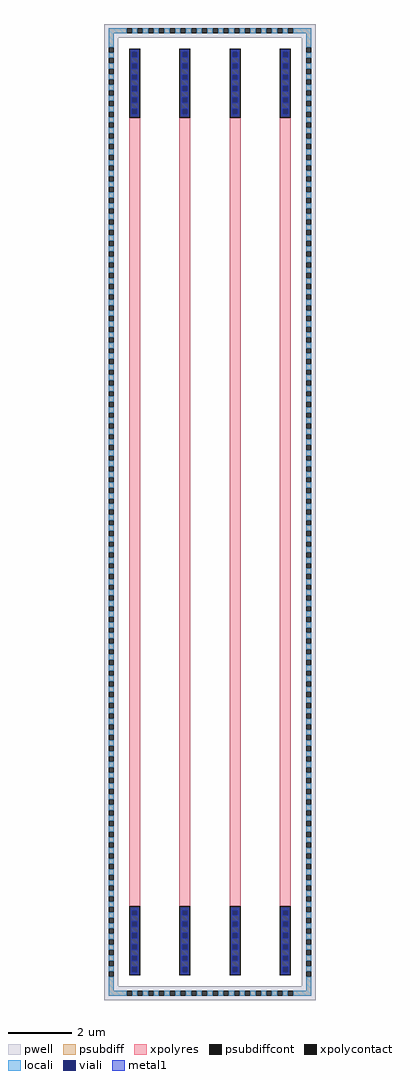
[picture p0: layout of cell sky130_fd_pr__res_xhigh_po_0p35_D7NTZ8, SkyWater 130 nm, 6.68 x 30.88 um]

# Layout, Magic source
magic
tech sky130A
magscale 1 2
<< pwell >>
rect -668 3002 668 3088
rect -668 -3002 -582 3002
rect 582 -3002 668 3002
rect -668 -3088 668 -3002
<< psubdiff >>
rect -642 3028 -527 3062
rect -493 3028 -459 3062
rect -425 3028 -391 3062
rect -357 3028 -323 3062
rect -289 3028 -255 3062
rect -221 3028 -187 3062
rect -153 3028 -119 3062
rect -85 3028 -51 3062
rect -17 3028 17 3062
rect 51 3028 85 3062
rect 119 3028 153 3062
rect 187 3028 221 3062
rect 255 3028 289 3062
rect 323 3028 357 3062
rect 391 3028 425 3062
rect 459 3028 493 3062
rect 527 3028 642 3062
rect -642 2941 -608 3028
rect 608 2941 642 3028
rect -642 2873 -608 2907
rect -642 2805 -608 2839
rect -642 2737 -608 2771
rect -642 2669 -608 2703
rect -642 2601 -608 2635
rect -642 2533 -608 2567
rect -642 2465 -608 2499
rect -642 2397 -608 2431
rect -642 2329 -608 2363
rect -642 2261 -608 2295
rect -642 2193 -608 2227
rect -642 2125 -608 2159
rect -642 2057 -608 2091
rect -642 1989 -608 2023
rect -642 1921 -608 1955
rect -642 1853 -608 1887
rect -642 1785 -608 1819
rect -642 1717 -608 1751
rect -642 1649 -608 1683
rect -642 1581 -608 1615
rect -642 1513 -608 1547
rect -642 1445 -608 1479
rect -642 1377 -608 1411
rect -642 1309 -608 1343
rect -642 1241 -608 1275
rect -642 1173 -608 1207
rect -642 1105 -608 1139
rect -642 1037 -608 1071
rect -642 969 -608 1003
rect -642 901 -608 935
rect -642 833 -608 867
rect -642 765 -608 799
rect -642 697 -608 731
rect -642 629 -608 663
rect -642 561 -608 595
rect -642 493 -608 527
rect -642 425 -608 459
rect -642 357 -608 391
rect -642 289 -608 323
rect -642 221 -608 255
rect -642 153 -608 187
rect -642 85 -608 119
rect -642 17 -608 51
rect -642 -51 -608 -17
rect -642 -119 -608 -85
rect -642 -187 -608 -153
rect -642 -255 -608 -221
rect -642 -323 -608 -289
rect -642 -391 -608 -357
rect -642 -459 -608 -425
rect -642 -527 -608 -493
rect -642 -595 -608 -561
rect -642 -663 -608 -629
rect -642 -731 -608 -697
rect -642 -799 -608 -765
rect -642 -867 -608 -833
rect -642 -935 -608 -901
rect -642 -1003 -608 -969
rect -642 -1071 -608 -1037
rect -642 -1139 -608 -1105
rect -642 -1207 -608 -1173
rect -642 -1275 -608 -1241
rect -642 -1343 -608 -1309
rect -642 -1411 -608 -1377
rect -642 -1479 -608 -1445
rect -642 -1547 -608 -1513
rect -642 -1615 -608 -1581
rect -642 -1683 -608 -1649
rect -642 -1751 -608 -1717
rect -642 -1819 -608 -1785
rect -642 -1887 -608 -1853
rect -642 -1955 -608 -1921
rect -642 -2023 -608 -1989
rect -642 -2091 -608 -2057
rect -642 -2159 -608 -2125
rect -642 -2227 -608 -2193
rect -642 -2295 -608 -2261
rect -642 -2363 -608 -2329
rect -642 -2431 -608 -2397
rect -642 -2499 -608 -2465
rect -642 -2567 -608 -2533
rect -642 -2635 -608 -2601
rect -642 -2703 -608 -2669
rect -642 -2771 -608 -2737
rect -642 -2839 -608 -2805
rect -642 -2907 -608 -2873
rect 608 2873 642 2907
rect 608 2805 642 2839
rect 608 2737 642 2771
rect 608 2669 642 2703
rect 608 2601 642 2635
rect 608 2533 642 2567
rect 608 2465 642 2499
rect 608 2397 642 2431
rect 608 2329 642 2363
rect 608 2261 642 2295
rect 608 2193 642 2227
rect 608 2125 642 2159
rect 608 2057 642 2091
rect 608 1989 642 2023
rect 608 1921 642 1955
rect 608 1853 642 1887
rect 608 1785 642 1819
rect 608 1717 642 1751
rect 608 1649 642 1683
rect 608 1581 642 1615
rect 608 1513 642 1547
rect 608 1445 642 1479
rect 608 1377 642 1411
rect 608 1309 642 1343
rect 608 1241 642 1275
rect 608 1173 642 1207
rect 608 1105 642 1139
rect 608 1037 642 1071
rect 608 969 642 1003
rect 608 901 642 935
rect 608 833 642 867
rect 608 765 642 799
rect 608 697 642 731
rect 608 629 642 663
rect 608 561 642 595
rect 608 493 642 527
rect 608 425 642 459
rect 608 357 642 391
rect 608 289 642 323
rect 608 221 642 255
rect 608 153 642 187
rect 608 85 642 119
rect 608 17 642 51
rect 608 -51 642 -17
rect 608 -119 642 -85
rect 608 -187 642 -153
rect 608 -255 642 -221
rect 608 -323 642 -289
rect 608 -391 642 -357
rect 608 -459 642 -425
rect 608 -527 642 -493
rect 608 -595 642 -561
rect 608 -663 642 -629
rect 608 -731 642 -697
rect 608 -799 642 -765
rect 608 -867 642 -833
rect 608 -935 642 -901
rect 608 -1003 642 -969
rect 608 -1071 642 -1037
rect 608 -1139 642 -1105
rect 608 -1207 642 -1173
rect 608 -1275 642 -1241
rect 608 -1343 642 -1309
rect 608 -1411 642 -1377
rect 608 -1479 642 -1445
rect 608 -1547 642 -1513
rect 608 -1615 642 -1581
rect 608 -1683 642 -1649
rect 608 -1751 642 -1717
rect 608 -1819 642 -1785
rect 608 -1887 642 -1853
rect 608 -1955 642 -1921
rect 608 -2023 642 -1989
rect 608 -2091 642 -2057
rect 608 -2159 642 -2125
rect 608 -2227 642 -2193
rect 608 -2295 642 -2261
rect 608 -2363 642 -2329
rect 608 -2431 642 -2397
rect 608 -2499 642 -2465
rect 608 -2567 642 -2533
rect 608 -2635 642 -2601
rect 608 -2703 642 -2669
rect 608 -2771 642 -2737
rect 608 -2839 642 -2805
rect 608 -2907 642 -2873
rect -642 -3028 -608 -2941
rect 608 -3028 642 -2941
rect -642 -3062 -527 -3028
rect -493 -3062 -459 -3028
rect -425 -3062 -391 -3028
rect -357 -3062 -323 -3028
rect -289 -3062 -255 -3028
rect -221 -3062 -187 -3028
rect -153 -3062 -119 -3028
rect -85 -3062 -51 -3028
rect -17 -3062 17 -3028
rect 51 -3062 85 -3028
rect 119 -3062 153 -3028
rect 187 -3062 221 -3028
rect 255 -3062 289 -3028
rect 323 -3062 357 -3028
rect 391 -3062 425 -3028
rect 459 -3062 493 -3028
rect 527 -3062 642 -3028
<< psubdiffcont >>
rect -527 3028 -493 3062
rect -459 3028 -425 3062
rect -391 3028 -357 3062
rect -323 3028 -289 3062
rect -255 3028 -221 3062
rect -187 3028 -153 3062
rect -119 3028 -85 3062
rect -51 3028 -17 3062
rect 17 3028 51 3062
rect 85 3028 119 3062
rect 153 3028 187 3062
rect 221 3028 255 3062
rect 289 3028 323 3062
rect 357 3028 391 3062
rect 425 3028 459 3062
rect 493 3028 527 3062
rect -642 2907 -608 2941
rect -642 2839 -608 2873
rect -642 2771 -608 2805
rect -642 2703 -608 2737
rect -642 2635 -608 2669
rect -642 2567 -608 2601
rect -642 2499 -608 2533
rect -642 2431 -608 2465
rect -642 2363 -608 2397
rect -642 2295 -608 2329
rect -642 2227 -608 2261
rect -642 2159 -608 2193
rect -642 2091 -608 2125
rect -642 2023 -608 2057
rect -642 1955 -608 1989
rect -642 1887 -608 1921
rect -642 1819 -608 1853
rect -642 1751 -608 1785
rect -642 1683 -608 1717
rect -642 1615 -608 1649
rect -642 1547 -608 1581
rect -642 1479 -608 1513
rect -642 1411 -608 1445
rect -642 1343 -608 1377
rect -642 1275 -608 1309
rect -642 1207 -608 1241
rect -642 1139 -608 1173
rect -642 1071 -608 1105
rect -642 1003 -608 1037
rect -642 935 -608 969
rect -642 867 -608 901
rect -642 799 -608 833
rect -642 731 -608 765
rect -642 663 -608 697
rect -642 595 -608 629
rect -642 527 -608 561
rect -642 459 -608 493
rect -642 391 -608 425
rect -642 323 -608 357
rect -642 255 -608 289
rect -642 187 -608 221
rect -642 119 -608 153
rect -642 51 -608 85
rect -642 -17 -608 17
rect -642 -85 -608 -51
rect -642 -153 -608 -119
rect -642 -221 -608 -187
rect -642 -289 -608 -255
rect -642 -357 -608 -323
rect -642 -425 -608 -391
rect -642 -493 -608 -459
rect -642 -561 -608 -527
rect -642 -629 -608 -595
rect -642 -697 -608 -663
rect -642 -765 -608 -731
rect -642 -833 -608 -799
rect -642 -901 -608 -867
rect -642 -969 -608 -935
rect -642 -1037 -608 -1003
rect -642 -1105 -608 -1071
rect -642 -1173 -608 -1139
rect -642 -1241 -608 -1207
rect -642 -1309 -608 -1275
rect -642 -1377 -608 -1343
rect -642 -1445 -608 -1411
rect -642 -1513 -608 -1479
rect -642 -1581 -608 -1547
rect -642 -1649 -608 -1615
rect -642 -1717 -608 -1683
rect -642 -1785 -608 -1751
rect -642 -1853 -608 -1819
rect -642 -1921 -608 -1887
rect -642 -1989 -608 -1955
rect -642 -2057 -608 -2023
rect -642 -2125 -608 -2091
rect -642 -2193 -608 -2159
rect -642 -2261 -608 -2227
rect -642 -2329 -608 -2295
rect -642 -2397 -608 -2363
rect -642 -2465 -608 -2431
rect -642 -2533 -608 -2499
rect -642 -2601 -608 -2567
rect -642 -2669 -608 -2635
rect -642 -2737 -608 -2703
rect -642 -2805 -608 -2771
rect -642 -2873 -608 -2839
rect -642 -2941 -608 -2907
rect 608 2907 642 2941
rect 608 2839 642 2873
rect 608 2771 642 2805
rect 608 2703 642 2737
rect 608 2635 642 2669
rect 608 2567 642 2601
rect 608 2499 642 2533
rect 608 2431 642 2465
rect 608 2363 642 2397
rect 608 2295 642 2329
rect 608 2227 642 2261
rect 608 2159 642 2193
rect 608 2091 642 2125
rect 608 2023 642 2057
rect 608 1955 642 1989
rect 608 1887 642 1921
rect 608 1819 642 1853
rect 608 1751 642 1785
rect 608 1683 642 1717
rect 608 1615 642 1649
rect 608 1547 642 1581
rect 608 1479 642 1513
rect 608 1411 642 1445
rect 608 1343 642 1377
rect 608 1275 642 1309
rect 608 1207 642 1241
rect 608 1139 642 1173
rect 608 1071 642 1105
rect 608 1003 642 1037
rect 608 935 642 969
rect 608 867 642 901
rect 608 799 642 833
rect 608 731 642 765
rect 608 663 642 697
rect 608 595 642 629
rect 608 527 642 561
rect 608 459 642 493
rect 608 391 642 425
rect 608 323 642 357
rect 608 255 642 289
rect 608 187 642 221
rect 608 119 642 153
rect 608 51 642 85
rect 608 -17 642 17
rect 608 -85 642 -51
rect 608 -153 642 -119
rect 608 -221 642 -187
rect 608 -289 642 -255
rect 608 -357 642 -323
rect 608 -425 642 -391
rect 608 -493 642 -459
rect 608 -561 642 -527
rect 608 -629 642 -595
rect 608 -697 642 -663
rect 608 -765 642 -731
rect 608 -833 642 -799
rect 608 -901 642 -867
rect 608 -969 642 -935
rect 608 -1037 642 -1003
rect 608 -1105 642 -1071
rect 608 -1173 642 -1139
rect 608 -1241 642 -1207
rect 608 -1309 642 -1275
rect 608 -1377 642 -1343
rect 608 -1445 642 -1411
rect 608 -1513 642 -1479
rect 608 -1581 642 -1547
rect 608 -1649 642 -1615
rect 608 -1717 642 -1683
rect 608 -1785 642 -1751
rect 608 -1853 642 -1819
rect 608 -1921 642 -1887
rect 608 -1989 642 -1955
rect 608 -2057 642 -2023
rect 608 -2125 642 -2091
rect 608 -2193 642 -2159
rect 608 -2261 642 -2227
rect 608 -2329 642 -2295
rect 608 -2397 642 -2363
rect 608 -2465 642 -2431
rect 608 -2533 642 -2499
rect 608 -2601 642 -2567
rect 608 -2669 642 -2635
rect 608 -2737 642 -2703
rect 608 -2805 642 -2771
rect 608 -2873 642 -2839
rect 608 -2941 642 -2907
rect -527 -3062 -493 -3028
rect -459 -3062 -425 -3028
rect -391 -3062 -357 -3028
rect -323 -3062 -289 -3028
rect -255 -3062 -221 -3028
rect -187 -3062 -153 -3028
rect -119 -3062 -85 -3028
rect -51 -3062 -17 -3028
rect 17 -3062 51 -3028
rect 85 -3062 119 -3028
rect 153 -3062 187 -3028
rect 221 -3062 255 -3028
rect 289 -3062 323 -3028
rect 357 -3062 391 -3028
rect 425 -3062 459 -3028
rect 493 -3062 527 -3028
<< xpolycontact >>
rect -512 2496 -442 2932
rect -512 -2932 -442 -2496
rect -194 2496 -124 2932
rect -194 -2932 -124 -2496
rect 124 2496 194 2932
rect 124 -2932 194 -2496
rect 442 2496 512 2932
rect 442 -2932 512 -2496
<< xpolyres >>
rect -512 -2496 -442 2496
rect -194 -2496 -124 2496
rect 124 -2496 194 2496
rect 442 -2496 512 2496
<< locali >>
rect -642 3028 -527 3062
rect -493 3028 -459 3062
rect -425 3028 -391 3062
rect -357 3028 -323 3062
rect -289 3028 -255 3062
rect -221 3028 -187 3062
rect -153 3028 -119 3062
rect -85 3028 -51 3062
rect -17 3028 17 3062
rect 51 3028 85 3062
rect 119 3028 153 3062
rect 187 3028 221 3062
rect 255 3028 289 3062
rect 323 3028 357 3062
rect 391 3028 425 3062
rect 459 3028 493 3062
rect 527 3028 642 3062
rect -642 2941 -608 3028
rect 608 2941 642 3028
rect -642 2873 -608 2907
rect -642 2805 -608 2839
rect -642 2737 -608 2771
rect -642 2669 -608 2703
rect -642 2601 -608 2635
rect -642 2533 -608 2567
rect -642 2465 -608 2499
rect 608 2873 642 2907
rect 608 2805 642 2839
rect 608 2737 642 2771
rect 608 2669 642 2703
rect 608 2601 642 2635
rect 608 2533 642 2567
rect -642 2397 -608 2431
rect -642 2329 -608 2363
rect -642 2261 -608 2295
rect -642 2193 -608 2227
rect -642 2125 -608 2159
rect -642 2057 -608 2091
rect -642 1989 -608 2023
rect -642 1921 -608 1955
rect -642 1853 -608 1887
rect -642 1785 -608 1819
rect -642 1717 -608 1751
rect -642 1649 -608 1683
rect -642 1581 -608 1615
rect -642 1513 -608 1547
rect -642 1445 -608 1479
rect -642 1377 -608 1411
rect -642 1309 -608 1343
rect -642 1241 -608 1275
rect -642 1173 -608 1207
rect -642 1105 -608 1139
rect -642 1037 -608 1071
rect -642 969 -608 1003
rect -642 901 -608 935
rect -642 833 -608 867
rect -642 765 -608 799
rect -642 697 -608 731
rect -642 629 -608 663
rect -642 561 -608 595
rect -642 493 -608 527
rect -642 425 -608 459
rect -642 357 -608 391
rect -642 289 -608 323
rect -642 221 -608 255
rect -642 153 -608 187
rect -642 85 -608 119
rect -642 17 -608 51
rect -642 -51 -608 -17
rect -642 -119 -608 -85
rect -642 -187 -608 -153
rect -642 -255 -608 -221
rect -642 -323 -608 -289
rect -642 -391 -608 -357
rect -642 -459 -608 -425
rect -642 -527 -608 -493
rect -642 -595 -608 -561
rect -642 -663 -608 -629
rect -642 -731 -608 -697
rect -642 -799 -608 -765
rect -642 -867 -608 -833
rect -642 -935 -608 -901
rect -642 -1003 -608 -969
rect -642 -1071 -608 -1037
rect -642 -1139 -608 -1105
rect -642 -1207 -608 -1173
rect -642 -1275 -608 -1241
rect -642 -1343 -608 -1309
rect -642 -1411 -608 -1377
rect -642 -1479 -608 -1445
rect -642 -1547 -608 -1513
rect -642 -1615 -608 -1581
rect -642 -1683 -608 -1649
rect -642 -1751 -608 -1717
rect -642 -1819 -608 -1785
rect -642 -1887 -608 -1853
rect -642 -1955 -608 -1921
rect -642 -2023 -608 -1989
rect -642 -2091 -608 -2057
rect -642 -2159 -608 -2125
rect -642 -2227 -608 -2193
rect -642 -2295 -608 -2261
rect -642 -2363 -608 -2329
rect -642 -2431 -608 -2397
rect -642 -2499 -608 -2465
rect 608 2465 642 2499
rect 608 2397 642 2431
rect 608 2329 642 2363
rect 608 2261 642 2295
rect 608 2193 642 2227
rect 608 2125 642 2159
rect 608 2057 642 2091
rect 608 1989 642 2023
rect 608 1921 642 1955
rect 608 1853 642 1887
rect 608 1785 642 1819
rect 608 1717 642 1751
rect 608 1649 642 1683
rect 608 1581 642 1615
rect 608 1513 642 1547
rect 608 1445 642 1479
rect 608 1377 642 1411
rect 608 1309 642 1343
rect 608 1241 642 1275
rect 608 1173 642 1207
rect 608 1105 642 1139
rect 608 1037 642 1071
rect 608 969 642 1003
rect 608 901 642 935
rect 608 833 642 867
rect 608 765 642 799
rect 608 697 642 731
rect 608 629 642 663
rect 608 561 642 595
rect 608 493 642 527
rect 608 425 642 459
rect 608 357 642 391
rect 608 289 642 323
rect 608 221 642 255
rect 608 153 642 187
rect 608 85 642 119
rect 608 17 642 51
rect 608 -51 642 -17
rect 608 -119 642 -85
rect 608 -187 642 -153
rect 608 -255 642 -221
rect 608 -323 642 -289
rect 608 -391 642 -357
rect 608 -459 642 -425
rect 608 -527 642 -493
rect 608 -595 642 -561
rect 608 -663 642 -629
rect 608 -731 642 -697
rect 608 -799 642 -765
rect 608 -867 642 -833
rect 608 -935 642 -901
rect 608 -1003 642 -969
rect 608 -1071 642 -1037
rect 608 -1139 642 -1105
rect 608 -1207 642 -1173
rect 608 -1275 642 -1241
rect 608 -1343 642 -1309
rect 608 -1411 642 -1377
rect 608 -1479 642 -1445
rect 608 -1547 642 -1513
rect 608 -1615 642 -1581
rect 608 -1683 642 -1649
rect 608 -1751 642 -1717
rect 608 -1819 642 -1785
rect 608 -1887 642 -1853
rect 608 -1955 642 -1921
rect 608 -2023 642 -1989
rect 608 -2091 642 -2057
rect 608 -2159 642 -2125
rect 608 -2227 642 -2193
rect 608 -2295 642 -2261
rect 608 -2363 642 -2329
rect 608 -2431 642 -2397
rect -642 -2567 -608 -2533
rect -642 -2635 -608 -2601
rect -642 -2703 -608 -2669
rect -642 -2771 -608 -2737
rect -642 -2839 -608 -2805
rect -642 -2907 -608 -2873
rect 608 -2499 642 -2465
rect 608 -2567 642 -2533
rect 608 -2635 642 -2601
rect 608 -2703 642 -2669
rect 608 -2771 642 -2737
rect 608 -2839 642 -2805
rect 608 -2907 642 -2873
rect -642 -3028 -608 -2941
rect 608 -3028 642 -2941
rect -642 -3062 -527 -3028
rect -493 -3062 -459 -3028
rect -425 -3062 -391 -3028
rect -357 -3062 -323 -3028
rect -289 -3062 -255 -3028
rect -221 -3062 -187 -3028
rect -153 -3062 -119 -3028
rect -85 -3062 -51 -3028
rect -17 -3062 17 -3028
rect 51 -3062 85 -3028
rect 119 -3062 153 -3028
rect 187 -3062 221 -3028
rect 255 -3062 289 -3028
rect 323 -3062 357 -3028
rect 391 -3062 425 -3028
rect 459 -3062 493 -3028
rect 527 -3062 642 -3028
<< viali >>
rect -494 2878 -460 2912
rect -494 2806 -460 2840
rect -494 2734 -460 2768
rect -494 2662 -460 2696
rect -494 2590 -460 2624
rect -494 2518 -460 2552
rect -176 2878 -142 2912
rect -176 2806 -142 2840
rect -176 2734 -142 2768
rect -176 2662 -142 2696
rect -176 2590 -142 2624
rect -176 2518 -142 2552
rect 142 2878 176 2912
rect 142 2806 176 2840
rect 142 2734 176 2768
rect 142 2662 176 2696
rect 142 2590 176 2624
rect 142 2518 176 2552
rect 460 2878 494 2912
rect 460 2806 494 2840
rect 460 2734 494 2768
rect 460 2662 494 2696
rect 460 2590 494 2624
rect 460 2518 494 2552
rect -494 -2553 -460 -2519
rect -494 -2625 -460 -2591
rect -494 -2697 -460 -2663
rect -494 -2769 -460 -2735
rect -494 -2841 -460 -2807
rect -494 -2913 -460 -2879
rect -176 -2553 -142 -2519
rect -176 -2625 -142 -2591
rect -176 -2697 -142 -2663
rect -176 -2769 -142 -2735
rect -176 -2841 -142 -2807
rect -176 -2913 -142 -2879
rect 142 -2553 176 -2519
rect 142 -2625 176 -2591
rect 142 -2697 176 -2663
rect 142 -2769 176 -2735
rect 142 -2841 176 -2807
rect 142 -2913 176 -2879
rect 460 -2553 494 -2519
rect 460 -2625 494 -2591
rect 460 -2697 494 -2663
rect 460 -2769 494 -2735
rect 460 -2841 494 -2807
rect 460 -2913 494 -2879
<< metal1 >>
rect -502 2912 -452 2926
rect -502 2878 -494 2912
rect -460 2878 -452 2912
rect -502 2840 -452 2878
rect -502 2806 -494 2840
rect -460 2806 -452 2840
rect -502 2768 -452 2806
rect -502 2734 -494 2768
rect -460 2734 -452 2768
rect -502 2696 -452 2734
rect -502 2662 -494 2696
rect -460 2662 -452 2696
rect -502 2624 -452 2662
rect -502 2590 -494 2624
rect -460 2590 -452 2624
rect -502 2552 -452 2590
rect -502 2518 -494 2552
rect -460 2518 -452 2552
rect -502 2505 -452 2518
rect -184 2912 -134 2926
rect -184 2878 -176 2912
rect -142 2878 -134 2912
rect -184 2840 -134 2878
rect -184 2806 -176 2840
rect -142 2806 -134 2840
rect -184 2768 -134 2806
rect -184 2734 -176 2768
rect -142 2734 -134 2768
rect -184 2696 -134 2734
rect -184 2662 -176 2696
rect -142 2662 -134 2696
rect -184 2624 -134 2662
rect -184 2590 -176 2624
rect -142 2590 -134 2624
rect -184 2552 -134 2590
rect -184 2518 -176 2552
rect -142 2518 -134 2552
rect -184 2505 -134 2518
rect 134 2912 184 2926
rect 134 2878 142 2912
rect 176 2878 184 2912
rect 134 2840 184 2878
rect 134 2806 142 2840
rect 176 2806 184 2840
rect 134 2768 184 2806
rect 134 2734 142 2768
rect 176 2734 184 2768
rect 134 2696 184 2734
rect 134 2662 142 2696
rect 176 2662 184 2696
rect 134 2624 184 2662
rect 134 2590 142 2624
rect 176 2590 184 2624
rect 134 2552 184 2590
rect 134 2518 142 2552
rect 176 2518 184 2552
rect 134 2505 184 2518
rect 452 2912 502 2926
rect 452 2878 460 2912
rect 494 2878 502 2912
rect 452 2840 502 2878
rect 452 2806 460 2840
rect 494 2806 502 2840
rect 452 2768 502 2806
rect 452 2734 460 2768
rect 494 2734 502 2768
rect 452 2696 502 2734
rect 452 2662 460 2696
rect 494 2662 502 2696
rect 452 2624 502 2662
rect 452 2590 460 2624
rect 494 2590 502 2624
rect 452 2552 502 2590
rect 452 2518 460 2552
rect 494 2518 502 2552
rect 452 2505 502 2518
rect -502 -2519 -452 -2505
rect -502 -2553 -494 -2519
rect -460 -2553 -452 -2519
rect -502 -2591 -452 -2553
rect -502 -2625 -494 -2591
rect -460 -2625 -452 -2591
rect -502 -2663 -452 -2625
rect -502 -2697 -494 -2663
rect -460 -2697 -452 -2663
rect -502 -2735 -452 -2697
rect -502 -2769 -494 -2735
rect -460 -2769 -452 -2735
rect -502 -2807 -452 -2769
rect -502 -2841 -494 -2807
rect -460 -2841 -452 -2807
rect -502 -2879 -452 -2841
rect -502 -2913 -494 -2879
rect -460 -2913 -452 -2879
rect -502 -2926 -452 -2913
rect -184 -2519 -134 -2505
rect -184 -2553 -176 -2519
rect -142 -2553 -134 -2519
rect -184 -2591 -134 -2553
rect -184 -2625 -176 -2591
rect -142 -2625 -134 -2591
rect -184 -2663 -134 -2625
rect -184 -2697 -176 -2663
rect -142 -2697 -134 -2663
rect -184 -2735 -134 -2697
rect -184 -2769 -176 -2735
rect -142 -2769 -134 -2735
rect -184 -2807 -134 -2769
rect -184 -2841 -176 -2807
rect -142 -2841 -134 -2807
rect -184 -2879 -134 -2841
rect -184 -2913 -176 -2879
rect -142 -2913 -134 -2879
rect -184 -2926 -134 -2913
rect 134 -2519 184 -2505
rect 134 -2553 142 -2519
rect 176 -2553 184 -2519
rect 134 -2591 184 -2553
rect 134 -2625 142 -2591
rect 176 -2625 184 -2591
rect 134 -2663 184 -2625
rect 134 -2697 142 -2663
rect 176 -2697 184 -2663
rect 134 -2735 184 -2697
rect 134 -2769 142 -2735
rect 176 -2769 184 -2735
rect 134 -2807 184 -2769
rect 134 -2841 142 -2807
rect 176 -2841 184 -2807
rect 134 -2879 184 -2841
rect 134 -2913 142 -2879
rect 176 -2913 184 -2879
rect 134 -2926 184 -2913
rect 452 -2519 502 -2505
rect 452 -2553 460 -2519
rect 494 -2553 502 -2519
rect 452 -2591 502 -2553
rect 452 -2625 460 -2591
rect 494 -2625 502 -2591
rect 452 -2663 502 -2625
rect 452 -2697 460 -2663
rect 494 -2697 502 -2663
rect 452 -2735 502 -2697
rect 452 -2769 460 -2735
rect 494 -2769 502 -2735
rect 452 -2807 502 -2769
rect 452 -2841 460 -2807
rect 494 -2841 502 -2807
rect 452 -2879 502 -2841
rect 452 -2913 460 -2879
rect 494 -2913 502 -2879
rect 452 -2926 502 -2913
<< properties >>
string FIXED_BBOX -625 -3045 625 3045
<< end >>
